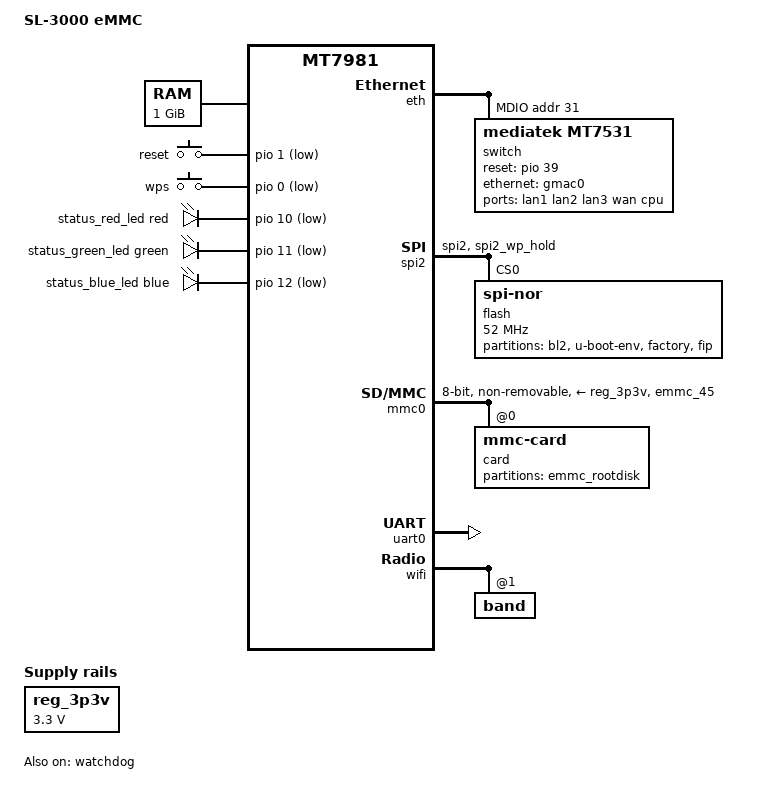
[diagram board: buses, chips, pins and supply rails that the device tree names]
// SPDX-License-Identifier: GPL-2.0-or-later OR MIT

/dts-v1/;
#include <dt-bindings/gpio/gpio.h>
#include <dt-bindings/input/input.h>
#include <dt-bindings/leds/common.h>

#include "mt7981b.dtsi"

/ {
	model = "SL-3000 eMMC";
	compatible = "sl,3000-emmc", "mediatek,mt7981";

	aliases {
		serial0 = &uart0;
		led-boot = &status_red_led;
		led-failsafe = &status_blue_led;
		led-running = &status_green_led;
		led-upgrade = &status_blue_led;
	};

	chosen {
		bootargs-override = "root=/dev/fit0 rootwait";
		rootdisk = <&emmc_rootdisk>;
		stdout-path = "serial0:115200n8";
	};

	memory@40000000 {
		device_type = "memory";
		reg = <0 0x40000000 0 0x40000000>;
	};

	reg_3p3v: regulator-3p3v {
		compatible = "regulator-fixed";
		regulator-name = "fixed-3.3V";
		regulator-min-microvolt = <3300000>;
		regulator-max-microvolt = <3300000>;
		regulator-boot-on;
		regulator-always-on;
	};

	gpio-keys {
		compatible = "gpio-keys";

		button-reset {
			label = "reset";
			linux,code = <KEY_RESTART>;
			gpios = <&pio 1 GPIO_ACTIVE_LOW>;
		};

		button-wps {
			label = "wps";
			linux,code = <KEY_WPS_BUTTON>;
			gpios = <&pio 0 GPIO_ACTIVE_LOW>;
		};
	};

	gpio-leds {
		compatible = "gpio-leds";

		status_red_led: led-0 {
			function = LED_FUNCTION_STATUS;
			color = <LED_COLOR_ID_RED>;
			gpios = <&pio 10 GPIO_ACTIVE_LOW>;
		};

		status_green_led: led-1 {
			function = LED_FUNCTION_STATUS;
			color = <LED_COLOR_ID_GREEN>;
			gpios = <&pio 11 GPIO_ACTIVE_LOW>;
		};

		status_blue_led: led-2 {
			function = LED_FUNCTION_STATUS;
			color = <LED_COLOR_ID_BLUE>;
			gpios = <&pio 12 GPIO_ACTIVE_LOW>;
		};
	};
};

&eth {
	status = "okay";

	gmac0: mac@0 {
		compatible = "mediatek,eth-mac";
		reg = <0>;
		phy-mode = "2500base-x";
		nvmem-cells = <&macaddr_factory_4 0>;
		nvmem-cell-names = "mac-address";

		fixed-link {
			speed = <2500>;
			full-duplex;
			pause;
		};
	};

	mdio: mdio-bus {
		#address-cells = <1>;
		#size-cells = <0>;

		switch@1f {
			compatible = "mediatek,mt7531";
			reg = <31>;
			reset-gpios = <&pio 39 GPIO_ACTIVE_HIGH>;

			ports {
				#address-cells = <1>;
				#size-cells = <0>;

				port@0 {
					reg = <0>;
					label = "lan1";
				};

				port@1 {
					reg = <1>;
					label = "lan2";
				};

				port@2 {
					reg = <2>;
					label = "lan3";
				};

				port@3 {
					reg = <3>;
					label = "wan";
				};

				port@6 {
					reg = <6>;
					label = "cpu";
					ethernet = <&gmac0>;
					phy-mode = "2500base-x";

					fixed-link {
						speed = <2500>;
						full-duplex;
						pause;
					};
				};
			};
		};
	};
};

&spi2 {
	pinctrl-names = "default";
	pinctrl-0 = <&spi2_flash_pins>;
	status = "okay";

	flash@0 {
		#address-cells = <1>;
		#size-cells = <1>;
		compatible = "jedec,spi-nor";
		reg = <0>;
		spi-max-frequency = <52000000>;

		partitions {
			compatible = "fixed-partitions";
			#address-cells = <1>;
			#size-cells = <1>;

			partition@0 {
				label = "bl2";
				reg = <0x0 0x100000>;
				read-only;
			};

			partition@100000 {
				label = "u-boot-env";
				reg = <0x100000 0x80000>;
			};

			factory: partition@180000 {
				label = "factory";
				reg = <0x180000 0x200000>;
				read-only;

				nvmem-layout {
					compatible = "fixed-layout";
					#address-cells = <1>;
					#size-cells = <1>;

					eeprom_factory_0: eeprom@0 {
						reg = <0x0 0x1000>;
					};

					macaddr_factory_4: macaddr@4 {
						compatible = "mac-base";
						reg = <0x4 0x6>;
						#nvmem-cell-cells = <1>;
					};
				};
			};

			partition@380000 {
				label = "fip";
				reg = <0x380000 0x200000>;
			};
		};
	};
};

&mmc0 {
	#address-cells = <1>;
	#size-cells = <0>;
	bus-width = <8>;
	cap-mmc-highspeed;
	max-frequency = <52000000>;
	no-sd;
	no-sdio;
	non-removable;
	pinctrl-names = "default", "state_uhs";
	pinctrl-0 = <&mmc0_pins_default>;
	pinctrl-1 = <&mmc0_pins_uhs>;
	vmmc-supply = <&reg_3p3v>;
	status = "okay";

	card@0 {
		compatible = "mmc-card";
		reg = <0>;

		block {
			compatible = "block-device";

			partitions {
				emmc_rootdisk: block-partition-production {
					partname = "production";
				};
			};
		};
	};
};

&pio {
	spi2_flash_pins: spi2-pins {
		mux {
			function = "spi";
			groups = "spi2", "spi2_wp_hold";
		};
	};

	mmc0_pins_default: mmc0-pins-default {
		mux {
			function = "flash";
			groups = "emmc_45";
		};
	};

	mmc0_pins_uhs: mmc0-pins-uhs {
		mux {
			function = "flash";
			groups = "emmc_45";
		};
	};
};

&uart0 {
	status = "okay";
};

&watchdog {
	status = "okay";
};

&wifi {
	#address-cells = <1>;
	#size-cells = <0>;
	nvmem-cells = <&eeprom_factory_0>;
	nvmem-cell-names = "eeprom";
	status = "okay";

	band@1 {
		reg = <1>;
		nvmem-cells = <&macaddr_factory_4 1>;
		nvmem-cell-names = "mac-address";
	};
};
